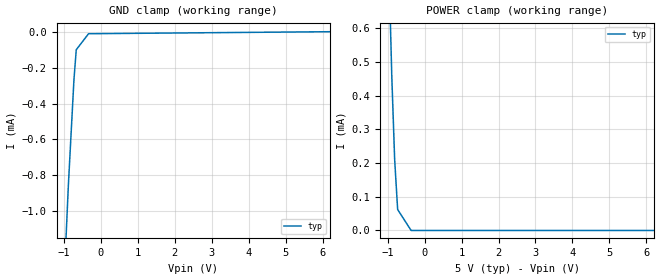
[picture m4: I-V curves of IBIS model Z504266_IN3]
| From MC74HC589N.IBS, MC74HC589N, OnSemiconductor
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| (C) COPYRIGHT 1993-2000
| MENTOR GRAPHICS CORPORATION
| ICX STANDARD LIBRARY, ICX PROJECT MODELING,
| ICX CUSTOM MODELING, ICX VENDOR MODEL
| ALL RIGHTS RESERVED.
| THE FOLLOWING ARE TRADEMARKS OR SERVICE MARKS OF
| MENTOR GRAPHICS CORPORATION:ICX (R), ICX STANDARD
| LIBRARY(R), ICX PROJECT MODELING(R), ICX CUSTOM
| MODELING(R), qualityIBIS(TM), MODELVIEWER(TM),
| AND MODELEDITOR(TM)
| ALL COPIES OF SOFTWARE, INCLUDING BUT NOT LIMITED TO
| ANY MODIFICATIONS, ENHANCEMENTS OR DERIVATIVE WORKS,
| MUST CONTAIN ALL MENTOR GRAPHICS CORPORATION'S
| NOTICES AND LEGENDS, INCLUDING THOSE EMBEDDED IN
| SOFTWARE AND THOSE AFFIXED TO SOFTWARE MEDIUM
| AND CONTAINER, AS RECEIVED FROM MENTOR GRAPHICS
| CORPORATION.
| Model Application Version 1.89 2/18/99.
[Model] Z504266_IN3
Model_type Input
Vinl = 1.000V
Vinh = 3.500V
C_comp 4.000pF NA NA
| variable typ   min   max
[Voltage Range] 5.000V NA NA
[GND Clamp Reference] 0.000V NA NA
[POWER Clamp Reference] 5.000V NA NA
[GND Clamp]
-5V       -19.93mA   NA         NA
-878.8mV  -854.3uA   NA         NA
-728.6mV  -266.6uA   NA         NA
-666.1mV  -99.03uA   NA         NA
-333.1mV  -9.482uA   NA         NA
10V       8.41uA     NA         NA
[POWER Clamp]
-5V       20.05mA    NA         NA
-1.196V   1.731mA    NA         NA
-888mV    455.9uA    NA         NA
-811mV    210.6uA    NA         NA
-730mV    62.11uA    NA         NA
-365mV    0A         NA         NA
10V       0A         NA         NA
